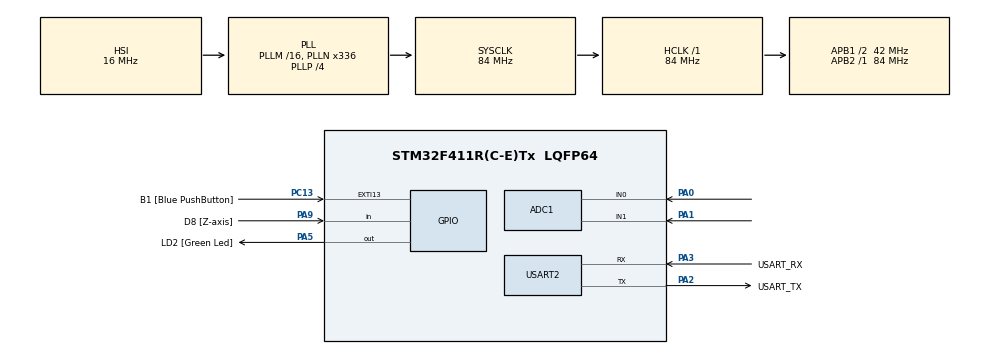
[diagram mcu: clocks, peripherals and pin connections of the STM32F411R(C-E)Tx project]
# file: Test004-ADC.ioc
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ADC1.Channel-1\#ChannelRegularConversion=ADC_CHANNEL_0
ADC1.Channel-2\#ChannelRegularConversion=ADC_CHANNEL_1
ADC1.DiscontinuousConvMode=ENABLE
ADC1.NbrOfConversion=2
ADC1.NbrOfConversionFlag=1
ADC1.Rank-1\#ChannelRegularConversion=1
ADC1.Rank-2\#ChannelRegularConversion=2
ADC1.SamplingTime-1\#ChannelRegularConversion=ADC_SAMPLETIME_3CYCLES
ADC1.SamplingTime-2\#ChannelRegularConversion=ADC_SAMPLETIME_3CYCLES
ADC1.master=1
Mcu.Family=STM32F4
Mcu.Name=STM32F411R(C-E)Tx
Mcu.Package=LQFP64
NVIC.PriorityGroup=NVIC_PRIORITYGROUP_0
PA0-WKUP.Signal=ADCx_IN0
PA1.Signal=ADCx_IN1
PA13.GPIO_Label=TMS
PA13.Mode=Serial_Wire
PA13.Signal=SYS_JTMS-SWDIO
PA14.GPIO_Label=TCK
PA14.Mode=Serial_Wire
PA14.Signal=SYS_JTCK-SWCLK
PA2.GPIO_Label=USART_TX
PA2.Mode=Asynchronous
PA2.Signal=USART2_TX
PA3.GPIO_Label=USART_RX
PA3.Mode=Asynchronous
PA3.Signal=USART2_RX
PA5.GPIO_Label=LD2 [Green Led]
PA5.Signal=GPIO_Output
PA9.GPIO_Label=D8 [Z-axis]
PA9.GPIO_PuPd=GPIO_PULLUP
PA9.Signal=GPIO_Input
PB3.GPIO_Label=SWO
PB3.Signal=SYS_JTDO-SWO
PC13-ANTI_TAMP.GPIO_Label=B1 [Blue PushButton]
PC13-ANTI_TAMP.GPIO_ModeDefaultEXTI=GPIO_MODE_IT_FALLING
PC13-ANTI_TAMP.Signal=GPXTI13
PC14-OSC32_IN.Mode=LSE-External-Oscillator
PC14-OSC32_IN.Signal=RCC_OSC32_IN
PC15-OSC32_OUT.Mode=LSE-External-Oscillator
PC15-OSC32_OUT.Signal=RCC_OSC32_OUT
PH0\ -\ OSC_IN.Mode=HSE-External-Clock-Source
PH0\ -\ OSC_IN.Signal=RCC_OSC_IN
PH1\ -\ OSC_OUT.Mode=HSE-External-Clock-Source
PH1\ -\ OSC_OUT.Signal=RCC_OSC_OUT
ProjectManager.HeapSize=0x200
ProjectManager.StackSize=0x400
ProjectManager.TargetToolchain=STM32CubeIDE
RCC.48MHZClocksFreq_Value=84000000
RCC.AHBFreq_Value=84000000
RCC.APB1CLKDivider=RCC_HCLK_DIV2
RCC.APB1Freq_Value=42000000
RCC.APB1TimFreq_Value=84000000
RCC.APB2Freq_Value=84000000
RCC.APB2TimFreq_Value=84000000
RCC.CortexFreq_Value=84000000
RCC.FLatency-AdvancedSettings=FLASH_LATENCY_2
RCC.HCLKFreq_Value=84000000
RCC.HSE_VALUE=8000000
RCC.HSI_VALUE=16000000
RCC.PLLN=336
RCC.PLLP=RCC_PLLP_DIV4
RCC.SYSCLKFreq_VALUE=84000000
RCC.SYSCLKSource=RCC_SYSCLKSOURCE_PLLCLK
RCC.VCOOutputFreq_Value=336000000
SH.ADCx_IN0.0=ADC1_IN0,IN0
SH.ADCx_IN1.0=ADC1_IN1,IN1
USART2.VirtualMode=VM_ASYNC
board=NUCLEO-F411RE

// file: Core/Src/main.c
/* USER CODE BEGIN Header */
/**
  ******************************************************************************
  * @file           : main.c
  * @brief          : Main program body
  ******************************************************************************
  * @attention
  *
  * Copyright (c) 2024 STMicroelectronics.
  * All rights reserved.
  *
  * This software is licensed under terms that can be found in the LICENSE file
  * in the root directory of this software component.
  * If no LICENSE file comes with this software, it is provided AS-IS.
  *
  ******************************************************************************
  */
/* USER CODE END Header */
#include "main.h"

ADC_HandleTypeDef hadc1;

UART_HandleTypeDef huart2;

void SystemClock_Config(void);
static void MX_GPIO_Init(void);
static void MX_USART2_UART_Init(void);
static void MX_ADC1_Init(void);

int main(void)
{

  /* MCU Configuration--------------------------------------------------------*/

  /* Reset of all peripherals, Initializes the Flash interface and the Systick. */
  HAL_Init();

  /* Configure the system clock */
  SystemClock_Config();

  /* Initialize all configured peripherals */
  MX_GPIO_Init();
  MX_USART2_UART_Init();
  MX_ADC1_Init();
  /* USER CODE BEGIN 2 */
  ProgramStart("ADC - Polling");
  /* USER CODE END 2 */

  /* Infinite loop */
  /* USER CODE BEGIN WHILE */
  int X_axis = 0, Y_axis = 0, success = 0;
  Cursor(30, 20);
  printf("*");
  Cursor(0, 0);

  while (1)
  {
    /* USER CODE END WHILE */

    /* USER CODE BEGIN 3 */
	  HAL_Delay(100);
	  if(success) {
		  cls();
		  Cursor(0, 0);
		  printf("?��(＠⌒?��?���?)�?  Success~~~!!!  ?��(＠⌒?��?���?)�?\r\n;");
	  } else {
		  HAL_ADC_Start(&hadc1);
		  HAL_ADC_PollForConversion(&hadc1, 10); // 1 time-sampling
		  int val1 = HAL_ADC_GetValue(&hadc1);
		  HAL_ADC_Start(&hadc1);
		  HAL_ADC_PollForConversion(&hadc1, 10); // 1 time-sampling
		  int val2 = HAL_ADC_GetValue(&hadc1);
		  // char* z_button = HAL_GPIO_ReadPin(D8_GPIO_Port, D8_Pin) ? "Unpushed" : "Pushed";
		  //printf("Joystick value (X, Y) = (%d, %d):(%d, %d) | (Z) = %s\r\n", val2, val1, val2/52, val1/171, z_button);
		  X_axis += val2/1000 - 2;
		  Y_axis += val1/1000 - 2;
		  Cursor(X_axis, Y_axis);
		  if(!HAL_GPIO_ReadPin(D8_GPIO_Port, D8_Pin) && X_axis == 30 && Y_axis == 20){
			  success = 1;
		  }
		  HAL_Delay(100);
	  }
  }
  /* USER CODE END 3 */
}

void SystemClock_Config(void)
{
  RCC_OscInitTypeDef RCC_OscInitStruct = {0};
  RCC_ClkInitTypeDef RCC_ClkInitStruct = {0};

  /** Configure the main internal regulator output voltage
  */
  __HAL_RCC_PWR_CLK_ENABLE();
  __HAL_PWR_VOLTAGESCALING_CONFIG(PWR_REGULATOR_VOLTAGE_SCALE1);

  /** Initializes the RCC Oscillators according to the specified parameters
  * in the RCC_OscInitTypeDef structure.
  */
  RCC_OscInitStruct.OscillatorType = RCC_OSCILLATORTYPE_HSI;
  RCC_OscInitStruct.HSIState = RCC_HSI_ON;
  RCC_OscInitStruct.HSICalibrationValue = RCC_HSICALIBRATION_DEFAULT;
  RCC_OscInitStruct.PLL.PLLState = RCC_PLL_ON;
  RCC_OscInitStruct.PLL.PLLSource = RCC_PLLSOURCE_HSI;
  RCC_OscInitStruct.PLL.PLLM = 16;
  RCC_OscInitStruct.PLL.PLLN = 336;
  RCC_OscInitStruct.PLL.PLLP = RCC_PLLP_DIV4;
  RCC_OscInitStruct.PLL.PLLQ = 4;
  if (HAL_RCC_OscConfig(&RCC_OscInitStruct) != HAL_OK)
  {
    Error_Handler();
  }

  /** Initializes the CPU, AHB and APB buses clocks
  */
  RCC_ClkInitStruct.ClockType = RCC_CLOCKTYPE_HCLK|RCC_CLOCKTYPE_SYSCLK
                              |RCC_CLOCKTYPE_PCLK1|RCC_CLOCKTYPE_PCLK2;
  RCC_ClkInitStruct.SYSCLKSource = RCC_SYSCLKSOURCE_PLLCLK;
  RCC_ClkInitStruct.AHBCLKDivider = RCC_SYSCLK_DIV1;
  RCC_ClkInitStruct.APB1CLKDivider = RCC_HCLK_DIV2;
  RCC_ClkInitStruct.APB2CLKDivider = RCC_HCLK_DIV1;

  if (HAL_RCC_ClockConfig(&RCC_ClkInitStruct, FLASH_LATENCY_2) != HAL_OK)
  {
    Error_Handler();
  }
}

static void MX_ADC1_Init(void)
{

  ADC_ChannelConfTypeDef sConfig = {0};

  /** Configure the global features of the ADC (Clock, Resolution, Data Alignment and number of conversion)
  */
  hadc1.Instance = ADC1;
  hadc1.Init.ClockPrescaler = ADC_CLOCK_SYNC_PCLK_DIV4;
  hadc1.Init.Resolution = ADC_RESOLUTION_12B;
  hadc1.Init.ScanConvMode = ENABLE;
  hadc1.Init.ContinuousConvMode = DISABLE;
  hadc1.Init.DiscontinuousConvMode = ENABLE;
  hadc1.Init.NbrOfDiscConversion = 1;
  hadc1.Init.ExternalTrigConvEdge = ADC_EXTERNALTRIGCONVEDGE_NONE;
  hadc1.Init.ExternalTrigConv = ADC_SOFTWARE_START;
  hadc1.Init.DataAlign = ADC_DATAALIGN_RIGHT;
  hadc1.Init.NbrOfConversion = 2;
  hadc1.Init.DMAContinuousRequests = DISABLE;
  hadc1.Init.EOCSelection = ADC_EOC_SINGLE_CONV;
  if (HAL_ADC_Init(&hadc1) != HAL_OK)
  {
    Error_Handler();
  }

  /** Configure for the selected ADC regular channel its corresponding rank in the sequencer and its sample time.
  */
  sConfig.Channel = ADC_CHANNEL_0;
  sConfig.Rank = 1;
  sConfig.SamplingTime = ADC_SAMPLETIME_3CYCLES;
  if (HAL_ADC_ConfigChannel(&hadc1, &sConfig) != HAL_OK)
  {
    Error_Handler();
  }

  /** Configure for the selected ADC regular channel its corresponding rank in the sequencer and its sample time.
  */
  sConfig.Channel = ADC_CHANNEL_1;
  sConfig.Rank = 2;
  if (HAL_ADC_ConfigChannel(&hadc1, &sConfig) != HAL_OK)
  {
    Error_Handler();
  }

}

static void MX_USART2_UART_Init(void)
{

  huart2.Instance = USART2;
  huart2.Init.BaudRate = 115200;
  huart2.Init.WordLength = UART_WORDLENGTH_8B;
  huart2.Init.StopBits = UART_STOPBITS_1;
  huart2.Init.Parity = UART_PARITY_NONE;
  huart2.Init.Mode = UART_MODE_TX_RX;
  huart2.Init.HwFlowCtl = UART_HWCONTROL_NONE;
  huart2.Init.OverSampling = UART_OVERSAMPLING_16;
  if (HAL_UART_Init(&huart2) != HAL_OK)
  {
    Error_Handler();
  }

}

static void MX_GPIO_Init(void)
{
  GPIO_InitTypeDef GPIO_InitStruct = {0};

  /* GPIO Ports Clock Enable */
  __HAL_RCC_GPIOC_CLK_ENABLE();
  __HAL_RCC_GPIOH_CLK_ENABLE();
  __HAL_RCC_GPIOA_CLK_ENABLE();
  __HAL_RCC_GPIOB_CLK_ENABLE();

  /*Configure GPIO pin Output Level */
  HAL_GPIO_WritePin(LD2_GPIO_Port, LD2_Pin, GPIO_PIN_RESET);

  /*Configure GPIO pin : B1_Pin */
  GPIO_InitStruct.Pin = B1_Pin;
  GPIO_InitStruct.Mode = GPIO_MODE_IT_FALLING;
  GPIO_InitStruct.Pull = GPIO_NOPULL;
  HAL_GPIO_Init(B1_GPIO_Port, &GPIO_InitStruct);

  /*Configure GPIO pin : LD2_Pin */
  GPIO_InitStruct.Pin = LD2_Pin;
  GPIO_InitStruct.Mode = GPIO_MODE_OUTPUT_PP;
  GPIO_InitStruct.Pull = GPIO_NOPULL;
  GPIO_InitStruct.Speed = GPIO_SPEED_FREQ_LOW;
  HAL_GPIO_Init(LD2_GPIO_Port, &GPIO_InitStruct);

  /*Configure GPIO pin : D8_Pin */
  GPIO_InitStruct.Pin = D8_Pin;
  GPIO_InitStruct.Mode = GPIO_MODE_INPUT;
  GPIO_InitStruct.Pull = GPIO_PULLUP;
  HAL_GPIO_Init(D8_GPIO_Port, &GPIO_InitStruct);

}

void Error_Handler(void)
{
  __disable_irq();
  while (1)
  {
  }
}
